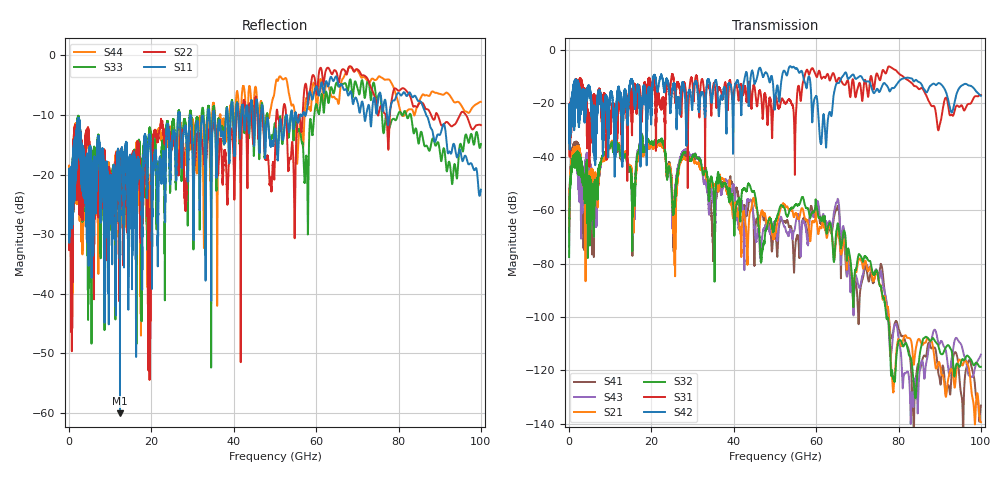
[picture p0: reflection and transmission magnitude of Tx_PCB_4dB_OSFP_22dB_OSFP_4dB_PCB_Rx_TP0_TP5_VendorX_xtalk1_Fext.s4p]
! Info: Touchstone file created by Circ.  Input file=Tx_PCB_4dB_OSFP_22dB_OSFP_4dB_PCB_Rx_TP0_TP5_VendorX.circ
# Hz S RI R 50
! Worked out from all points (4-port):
!   10000 points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, 10 MHz to 100 GHz, reference 50 ohm
!   strongest paths, dB at 10 MHz, 25.01 GHz, 50.01 GHz, 75.01 GHz, 100 GHz:
!     S42: -24.1, -16.0, -20.7, -14.9, -17.2
!     S31: -24.1, -9.2, -17.7, -9.6, -16.9
!     S32: -77.5, -55.0, -64.5, -84.5, -118.6
!     S21: -65.9, -52.6, -68.9, -85.0, -139.3
!     S43: -73.6, -61.0, -65.2, -84.4, -114.1
!     S41: -68.1, -52.9, -67.3, -83.8, -133.1
!   lowest |S11| = -60.0 dB at 12.36 GHz (marker M1), VSWR 1.00, Z = 50.1 - j0.0829 ohm
!   |S11| at or under -10 dB: start of sweep to 26.54 GHz; 47.2 GHz to 52.76 GHz (5.56 GHz wide, 11.1 % of centre); 86.69 GHz to end of sweep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
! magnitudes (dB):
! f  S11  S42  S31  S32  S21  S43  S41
! 10 MHz  -21.1  -24.1  -24.1  -77.5  -65.9  -73.6  -68.1
! 1.27 GHz  -14.6  -12.1  -13.4  -39.5  -36.9  -37.0  -35.2
! 12.36 GHz  -60.0  -17.8  -17.8  -39.2  -38.8  -38.7  -39.8
! 43.79 GHz  -12.5  -15.8  -12.4  -50.3  -62.1  -56.2  -56.3
! 46.8 GHz  -8.6  -8.5  -20.2  -76.9  -60.1  -71.0  -60.6
! 61.11 GHz  -5.1  -34.8  -9.9  -63.3  -66.4  -62.9  -64.9
! 100 GHz  -22.5  -17.2  -16.9  -118.6  -139.3  -114.1  -133.1
